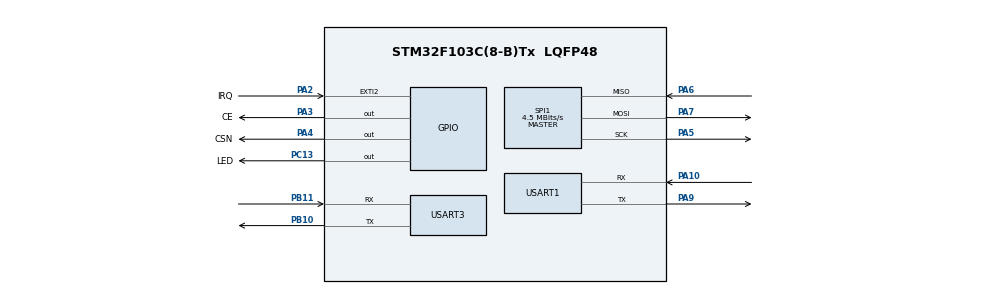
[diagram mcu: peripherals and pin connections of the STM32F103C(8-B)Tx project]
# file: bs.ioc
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Mcu.Family=STM32F1
Mcu.Name=STM32F103C(8-B)Tx
Mcu.Package=LQFP48
NVIC.EXTI2_IRQn=true\:0\:0\:false\:false\:true\:true\:true
NVIC.PriorityGroup=NVIC_PRIORITYGROUP_4
NVIC.TIM2_IRQn=true\:1\:0\:true\:false\:true\:true\:true
PA10.Mode=Asynchronous
PA10.Signal=USART1_RX
PA13.Mode=Serial_Wire
PA13.Signal=SYS_JTMS-SWDIO
PA14.Mode=Serial_Wire
PA14.Signal=SYS_JTCK-SWCLK
PA2.GPIO_Label=IRQ
PA2.GPIO_ModeDefaultEXTI=GPIO_MODE_IT_FALLING
PA2.Signal=GPXTI2
PA3.GPIO_Label=CE
PA3.Signal=GPIO_Output
PA4.GPIO_Label=CSN
PA4.Signal=GPIO_Output
PA5.Mode=Full_Duplex_Master
PA5.Signal=SPI1_SCK
PA6.Mode=Full_Duplex_Master
PA6.Signal=SPI1_MISO
PA7.Mode=Full_Duplex_Master
PA7.Signal=SPI1_MOSI
PA9.Mode=Asynchronous
PA9.Signal=USART1_TX
PB10.Mode=Asynchronous
PB10.Signal=USART3_TX
PB11.Mode=Asynchronous
PB11.Signal=USART3_RX
PC13-TAMPER-RTC.GPIO_Label=LED
PC13-TAMPER-RTC.Signal=GPIO_Output
PC14-OSC32_IN.Mode=LSE-External-Oscillator
PC14-OSC32_IN.Signal=RCC_OSC32_IN
PC15-OSC32_OUT.Mode=LSE-External-Oscillator
PC15-OSC32_OUT.Signal=RCC_OSC32_OUT
PD0-OSC_IN.Mode=HSE-External-Oscillator
PD0-OSC_IN.Signal=RCC_OSC_IN
PD1-OSC_OUT.Mode=HSE-External-Oscillator
PD1-OSC_OUT.Signal=RCC_OSC_OUT
ProjectManager.HeapSize=0x200
ProjectManager.StackSize=0x400
ProjectManager.TargetToolchain=MDK-ARM V5.32
RCC.AHBFreq_Value=72000000
RCC.APB1CLKDivider=RCC_HCLK_DIV2
RCC.APB1Freq_Value=36000000
RCC.APB1TimFreq_Value=72000000
RCC.APB2Freq_Value=72000000
RCC.APB2TimFreq_Value=72000000
RCC.HCLKFreq_Value=72000000
RCC.PLLMUL=RCC_PLL_MUL9
RCC.PLLSourceVirtual=RCC_PLLSOURCE_HSE
RCC.RTCClockSelection=RCC_RTCCLKSOURCE_LSE
RCC.SYSCLKFreq_VALUE=72000000
RCC.SYSCLKSource=RCC_SYSCLKSOURCE_PLLCLK
RCC.USBFreq_Value=72000000
SPI1.BaudRatePrescaler=SPI_BAUDRATEPRESCALER_16
SPI1.CalculateBaudRate=4.5 MBits/s
SPI1.Direction=SPI_DIRECTION_2LINES
SPI1.Mode=SPI_MODE_MASTER
SPI1.VirtualType=VM_MASTER
TIM2.Period=63
TIM2.Prescaler=999
TIM2.TIM_MasterOutputTrigger=TIM_TRGO_UPDATE
USART1.VirtualMode=VM_ASYNC
USART3.VirtualMode=VM_ASYNC
VP_IWDG_VS_IWDG.Mode=IWDG_Activate
VP_RTC_VS_RTC_Activate.Mode=RTC_Enabled
VP_RTC_VS_RTC_Calendar.Mode=RTC_Calendar
VP_TIM2_VS_ClockSourceINT.Mode=Internal
board=custom

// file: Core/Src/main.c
/* USER CODE BEGIN Header */
/**
  ******************************************************************************
  * @file           : main.c
  * @brief          : Main program body
  ******************************************************************************
  * @attention
  *
  * Copyright (c) 2022 STMicroelectronics.
  * All rights reserved.
  *
  * This software is licensed under terms that can be found in the LICENSE file
  * in the root directory of this software component.
  * If no LICENSE file comes with this software, it is provided AS-IS.
  *
  ******************************************************************************
  */
/* USER CODE END Header */
#include "main.h"

/* USER CODE BEGIN PV */

char str1[20] = {0};
uint8_t buf1[20]={0};
uint8_t buf[5]={0};
uint8_t f_send = 0;
/* USER CODE END PV */

void SystemClock_Config(void);
static void MX_GPIO_Init(void);
static void MX_RTC_Init(void);
static void MX_IWDG_Init(void);
static void MX_SPI1_Init(void);
static void MX_USART1_UART_Init(void);
static void MX_TIM2_Init(void);
static void MX_USART3_UART_Init(void);

/* USER CODE BEGIN 0 */

void USART_TX (uint8_t* dt, uint16_t sz)
{
  uint16_t ind = 0;
  while (ind<sz)
  {
    while (!LL_USART_IsActiveFlag_TXE(USART1)) {}
    LL_USART_TransmitData8(USART1,*(uint8_t*)(dt+ind));
    ind++;
  }
}

/* USER CODE END 0 */

int main(void)
{
  /* USER CODE BEGIN 1 */
	//uint8_t dt_reg=0;
	//uint8_t retr_cnt, dt;
	//uint16_t i=1,retr_cnt_full;
  /* USER CODE END 1 */

  /* MCU Configuration--------------------------------------------------------*/

  /* Reset of all peripherals, Initializes the Flash interface and the Systick. */

  LL_APB2_GRP1_EnableClock(LL_APB2_GRP1_PERIPH_AFIO);
  LL_APB1_GRP1_EnableClock(LL_APB1_GRP1_PERIPH_PWR);

  NVIC_SetPriorityGrouping(NVIC_PRIORITYGROUP_4);

  /* System interrupt init*/
  /* SysTick_IRQn interrupt configuration */
  NVIC_SetPriority(SysTick_IRQn, NVIC_EncodePriority(NVIC_GetPriorityGrouping(),15, 0));

  /** NOJTAG: JTAG-DP Disabled and SW-DP Enabled
  */
  LL_GPIO_AF_Remap_SWJ_NOJTAG();

  /* Configure the system clock */
  SystemClock_Config();

  /* Initialize all configured peripherals */
  MX_GPIO_Init();
  MX_RTC_Init();
  MX_IWDG_Init();
  MX_SPI1_Init();
  MX_USART1_UART_Init();
  MX_TIM2_Init();
  MX_USART3_UART_Init();
  /* USER CODE BEGIN 2 */
	//LL_TIM_EnableCounter(TIM2);
	//LL_TIM_EnableIT_UPDATE(TIM2);
  LL_SPI_Enable(SPI1);
	LL_USART_Enable(USART1);
	NRF24_init();

	sprintf(str1,"START\r\n");
	USART_TX((uint8_t*)str1,strlen(str1));

  /* USER CODE END 2 */

  /* Infinite loop */
  /* USER CODE BEGIN WHILE */
  while (1)
  {

		NRF24L01_Receive();

		if (f_send)
		{
			buf[0] = 0x03;
			NRF24L01_Send(buf);
			f_send = 0;
		}

		//LL_mDelay(100);

		//buf[0] = 0x02;
		//NRF24L01_Send(buf);

    /* USER CODE END WHILE */

    /* USER CODE BEGIN 3 */
		LL_IWDG_ReloadCounter(IWDG);
  }
  /* USER CODE END 3 */
}

void SystemClock_Config(void)
{
  LL_FLASH_SetLatency(LL_FLASH_LATENCY_2);
  while(LL_FLASH_GetLatency()!= LL_FLASH_LATENCY_2)
  {
  }
  LL_RCC_HSE_Enable();

   /* Wait till HSE is ready */
  while(LL_RCC_HSE_IsReady() != 1)
  {

  }
  LL_RCC_LSI_Enable();

   /* Wait till LSI is ready */
  while(LL_RCC_LSI_IsReady() != 1)
  {

  }
  LL_PWR_EnableBkUpAccess();
  if(LL_RCC_GetRTCClockSource() != LL_RCC_RTC_CLKSOURCE_LSE)
  {
    LL_RCC_ForceBackupDomainReset();
    LL_RCC_ReleaseBackupDomainReset();
  }
  LL_RCC_LSE_Enable();

   /* Wait till LSE is ready */
  while(LL_RCC_LSE_IsReady() != 1)
  {

  }
  if(LL_RCC_GetRTCClockSource() != LL_RCC_RTC_CLKSOURCE_LSE)
  {
    LL_RCC_SetRTCClockSource(LL_RCC_RTC_CLKSOURCE_LSE);
  }
  LL_RCC_EnableRTC();
  LL_RCC_PLL_ConfigDomain_SYS(LL_RCC_PLLSOURCE_HSE_DIV_1, LL_RCC_PLL_MUL_9);
  LL_RCC_PLL_Enable();

   /* Wait till PLL is ready */
  while(LL_RCC_PLL_IsReady() != 1)
  {

  }
  LL_RCC_SetAHBPrescaler(LL_RCC_SYSCLK_DIV_1);
  LL_RCC_SetAPB1Prescaler(LL_RCC_APB1_DIV_2);
  LL_RCC_SetAPB2Prescaler(LL_RCC_APB2_DIV_1);
  LL_RCC_SetSysClkSource(LL_RCC_SYS_CLKSOURCE_PLL);

   /* Wait till System clock is ready */
  while(LL_RCC_GetSysClkSource() != LL_RCC_SYS_CLKSOURCE_STATUS_PLL)
  {

  }
  LL_Init1msTick(72000000);
  LL_SetSystemCoreClock(72000000);
}

static void MX_IWDG_Init(void)
{

  LL_IWDG_Enable(IWDG);
  LL_IWDG_EnableWriteAccess(IWDG);
  LL_IWDG_SetPrescaler(IWDG, LL_IWDG_PRESCALER_4);
  LL_IWDG_SetReloadCounter(IWDG, 4095);
  while (LL_IWDG_IsReady(IWDG) != 1)
  {
  }

  LL_IWDG_ReloadCounter(IWDG);

}

static void MX_RTC_Init(void)
{

  LL_RTC_InitTypeDef RTC_InitStruct = {0};
  LL_RTC_TimeTypeDef RTC_TimeStruct = {0};

    LL_PWR_EnableBkUpAccess();
    /* Enable BKP CLK enable for backup registers */
    LL_APB1_GRP1_EnableClock(LL_APB1_GRP1_PERIPH_BKP);
  /* Peripheral clock enable */
  LL_RCC_EnableRTC();

  /** Initialize RTC and set the Time and Date
  */
  RTC_InitStruct.AsynchPrescaler = 0xFFFFFFFFU;
  LL_RTC_Init(RTC, &RTC_InitStruct);
  LL_RTC_SetAsynchPrescaler(RTC, 0xFFFFFFFFU);
  /** Initialize RTC and set the Time and Date
  */
  RTC_TimeStruct.Hours = 0;
  RTC_TimeStruct.Minutes = 0;
  RTC_TimeStruct.Seconds = 0;
  LL_RTC_TIME_Init(RTC, LL_RTC_FORMAT_BCD, &RTC_TimeStruct);

}

static void MX_SPI1_Init(void)
{

  LL_SPI_InitTypeDef SPI_InitStruct = {0};

  LL_GPIO_InitTypeDef GPIO_InitStruct = {0};

  /* Peripheral clock enable */
  LL_APB2_GRP1_EnableClock(LL_APB2_GRP1_PERIPH_SPI1);

  LL_APB2_GRP1_EnableClock(LL_APB2_GRP1_PERIPH_GPIOA);
  /**SPI1 GPIO Configuration
  PA5   ------> SPI1_SCK
  PA6   ------> SPI1_MISO
  PA7   ------> SPI1_MOSI
  */
  GPIO_InitStruct.Pin = LL_GPIO_PIN_5|LL_GPIO_PIN_7;
  GPIO_InitStruct.Mode = LL_GPIO_MODE_ALTERNATE;
  GPIO_InitStruct.Speed = LL_GPIO_SPEED_FREQ_HIGH;
  GPIO_InitStruct.OutputType = LL_GPIO_OUTPUT_PUSHPULL;
  LL_GPIO_Init(GPIOA, &GPIO_InitStruct);

  GPIO_InitStruct.Pin = LL_GPIO_PIN_6;
  GPIO_InitStruct.Mode = LL_GPIO_MODE_FLOATING;
  LL_GPIO_Init(GPIOA, &GPIO_InitStruct);

  /* SPI1 parameter configuration*/
  SPI_InitStruct.TransferDirection = LL_SPI_FULL_DUPLEX;
  SPI_InitStruct.Mode = LL_SPI_MODE_MASTER;
  SPI_InitStruct.DataWidth = LL_SPI_DATAWIDTH_8BIT;
  SPI_InitStruct.ClockPolarity = LL_SPI_POLARITY_LOW;
  SPI_InitStruct.ClockPhase = LL_SPI_PHASE_1EDGE;
  SPI_InitStruct.NSS = LL_SPI_NSS_SOFT;
  SPI_InitStruct.BaudRate = LL_SPI_BAUDRATEPRESCALER_DIV16;
  SPI_InitStruct.BitOrder = LL_SPI_MSB_FIRST;
  SPI_InitStruct.CRCCalculation = LL_SPI_CRCCALCULATION_DISABLE;
  SPI_InitStruct.CRCPoly = 10;
  LL_SPI_Init(SPI1, &SPI_InitStruct);

}

static void MX_TIM2_Init(void)
{

  LL_TIM_InitTypeDef TIM_InitStruct = {0};

  /* Peripheral clock enable */
  LL_APB1_GRP1_EnableClock(LL_APB1_GRP1_PERIPH_TIM2);

  /* TIM2 interrupt Init */
  NVIC_SetPriority(TIM2_IRQn, NVIC_EncodePriority(NVIC_GetPriorityGrouping(),1, 0));
  NVIC_EnableIRQ(TIM2_IRQn);

  TIM_InitStruct.Prescaler = 999;
  TIM_InitStruct.CounterMode = LL_TIM_COUNTERMODE_UP;
  TIM_InitStruct.Autoreload = 63;
  TIM_InitStruct.ClockDivision = LL_TIM_CLOCKDIVISION_DIV1;
  LL_TIM_Init(TIM2, &TIM_InitStruct);
  LL_TIM_DisableARRPreload(TIM2);
  LL_TIM_SetClockSource(TIM2, LL_TIM_CLOCKSOURCE_INTERNAL);
  LL_TIM_SetTriggerOutput(TIM2, LL_TIM_TRGO_UPDATE);
  LL_TIM_DisableMasterSlaveMode(TIM2);

}

static void MX_USART1_UART_Init(void)
{

  LL_USART_InitTypeDef USART_InitStruct = {0};

  LL_GPIO_InitTypeDef GPIO_InitStruct = {0};

  /* Peripheral clock enable */
  LL_APB2_GRP1_EnableClock(LL_APB2_GRP1_PERIPH_USART1);

  LL_APB2_GRP1_EnableClock(LL_APB2_GRP1_PERIPH_GPIOA);
  /**USART1 GPIO Configuration
  PA9   ------> USART1_TX
  PA10   ------> USART1_RX
  */
  GPIO_InitStruct.Pin = LL_GPIO_PIN_9;
  GPIO_InitStruct.Mode = LL_GPIO_MODE_ALTERNATE;
  GPIO_InitStruct.Speed = LL_GPIO_SPEED_FREQ_HIGH;
  GPIO_InitStruct.OutputType = LL_GPIO_OUTPUT_PUSHPULL;
  LL_GPIO_Init(GPIOA, &GPIO_InitStruct);

  GPIO_InitStruct.Pin = LL_GPIO_PIN_10;
  GPIO_InitStruct.Mode = LL_GPIO_MODE_FLOATING;
  LL_GPIO_Init(GPIOA, &GPIO_InitStruct);

  USART_InitStruct.BaudRate = 115200;
  USART_InitStruct.DataWidth = LL_USART_DATAWIDTH_8B;
  USART_InitStruct.StopBits = LL_USART_STOPBITS_1;
  USART_InitStruct.Parity = LL_USART_PARITY_NONE;
  USART_InitStruct.TransferDirection = LL_USART_DIRECTION_TX_RX;
  USART_InitStruct.HardwareFlowControl = LL_USART_HWCONTROL_NONE;
  USART_InitStruct.OverSampling = LL_USART_OVERSAMPLING_16;
  LL_USART_Init(USART1, &USART_InitStruct);
  LL_USART_ConfigAsyncMode(USART1);
  LL_USART_Enable(USART1);

}

static void MX_USART3_UART_Init(void)
{

  LL_USART_InitTypeDef USART_InitStruct = {0};

  LL_GPIO_InitTypeDef GPIO_InitStruct = {0};

  /* Peripheral clock enable */
  LL_APB1_GRP1_EnableClock(LL_APB1_GRP1_PERIPH_USART3);

  LL_APB2_GRP1_EnableClock(LL_APB2_GRP1_PERIPH_GPIOB);
  /**USART3 GPIO Configuration
  PB10   ------> USART3_TX
  PB11   ------> USART3_RX
  */
  GPIO_InitStruct.Pin = LL_GPIO_PIN_10;
  GPIO_InitStruct.Mode = LL_GPIO_MODE_ALTERNATE;
  GPIO_InitStruct.Speed = LL_GPIO_SPEED_FREQ_HIGH;
  GPIO_InitStruct.OutputType = LL_GPIO_OUTPUT_PUSHPULL;
  LL_GPIO_Init(GPIOB, &GPIO_InitStruct);

  GPIO_InitStruct.Pin = LL_GPIO_PIN_11;
  GPIO_InitStruct.Mode = LL_GPIO_MODE_FLOATING;
  LL_GPIO_Init(GPIOB, &GPIO_InitStruct);

  USART_InitStruct.BaudRate = 115200;
  USART_InitStruct.DataWidth = LL_USART_DATAWIDTH_8B;
  USART_InitStruct.StopBits = LL_USART_STOPBITS_1;
  USART_InitStruct.Parity = LL_USART_PARITY_NONE;
  USART_InitStruct.TransferDirection = LL_USART_DIRECTION_TX_RX;
  USART_InitStruct.HardwareFlowControl = LL_USART_HWCONTROL_NONE;
  USART_InitStruct.OverSampling = LL_USART_OVERSAMPLING_16;
  LL_USART_Init(USART3, &USART_InitStruct);
  LL_USART_ConfigAsyncMode(USART3);
  LL_USART_Enable(USART3);

}

static void MX_GPIO_Init(void)
{
  LL_EXTI_InitTypeDef EXTI_InitStruct = {0};
  LL_GPIO_InitTypeDef GPIO_InitStruct = {0};

  /* GPIO Ports Clock Enable */
  LL_APB2_GRP1_EnableClock(LL_APB2_GRP1_PERIPH_GPIOC);
  LL_APB2_GRP1_EnableClock(LL_APB2_GRP1_PERIPH_GPIOD);
  LL_APB2_GRP1_EnableClock(LL_APB2_GRP1_PERIPH_GPIOA);
  LL_APB2_GRP1_EnableClock(LL_APB2_GRP1_PERIPH_GPIOB);

  /**/
  LL_GPIO_ResetOutputPin(LED_GPIO_Port, LED_Pin);

  /**/
  LL_GPIO_ResetOutputPin(GPIOA, CE_Pin|CSN_Pin);

  /**/
  GPIO_InitStruct.Pin = LED_Pin;
  GPIO_InitStruct.Mode = LL_GPIO_MODE_OUTPUT;
  GPIO_InitStruct.Speed = LL_GPIO_SPEED_FREQ_LOW;
  GPIO_InitStruct.OutputType = LL_GPIO_OUTPUT_PUSHPULL;
  LL_GPIO_Init(LED_GPIO_Port, &GPIO_InitStruct);

  /**/
  GPIO_InitStruct.Pin = CE_Pin|CSN_Pin;
  GPIO_InitStruct.Mode = LL_GPIO_MODE_OUTPUT;
  GPIO_InitStruct.Speed = LL_GPIO_SPEED_FREQ_LOW;
  GPIO_InitStruct.OutputType = LL_GPIO_OUTPUT_PUSHPULL;
  LL_GPIO_Init(GPIOA, &GPIO_InitStruct);

  /**/
  LL_GPIO_AF_SetEXTISource(LL_GPIO_AF_EXTI_PORTA, LL_GPIO_AF_EXTI_LINE2);

  /**/
  EXTI_InitStruct.Line_0_31 = LL_EXTI_LINE_2;
  EXTI_InitStruct.LineCommand = ENABLE;
  EXTI_InitStruct.Mode = LL_EXTI_MODE_IT;
  EXTI_InitStruct.Trigger = LL_EXTI_TRIGGER_FALLING;
  LL_EXTI_Init(&EXTI_InitStruct);

  /**/
  LL_GPIO_SetPinMode(IRQ_GPIO_Port, IRQ_Pin, LL_GPIO_MODE_FLOATING);

  /* EXTI interrupt init*/
  NVIC_SetPriority(EXTI2_IRQn, NVIC_EncodePriority(NVIC_GetPriorityGrouping(),0, 0));
  NVIC_EnableIRQ(EXTI2_IRQn);

}

void Error_Handler(void)
{
  __disable_irq();
  while (1)
  {
  }
}
